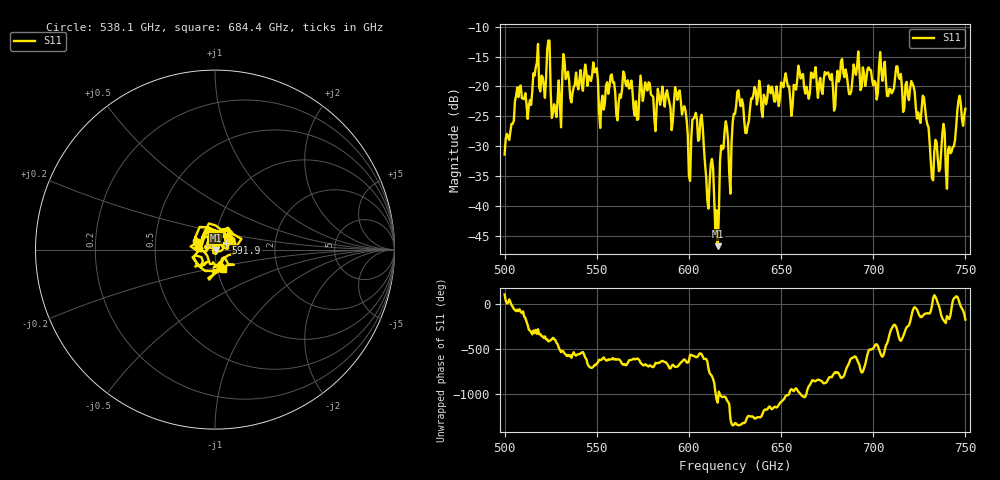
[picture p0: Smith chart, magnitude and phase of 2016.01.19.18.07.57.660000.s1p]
!Created with skrf (http://scikit-rf.org).
# GHz S RI R 50.0
!freq ReS11 ImS11
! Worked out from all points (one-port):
!   401 points, 500 GHz to 750 GHz, reference 50 ohm
!   lowest |S11| = -46.8 dB at 615.6 GHz (marker M1), VSWR 1.01, Z = 50.4 - j0.152 ohm
!   |S11| at or under -10 dB: start of sweep to end of sweep
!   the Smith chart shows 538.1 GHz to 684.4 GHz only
!   S11 on the Smith chart (normalised r, x): 538.1 GHz: 0.82, +0.06; 591.9 GHz: 1.13, +0.09; 684.4 GHz: 1.07, -0.24
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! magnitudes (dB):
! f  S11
! 500 GHz  -31.4
! 507.5 GHz  -21.8
! 513.8 GHz  -22.3
! 516.9 GHz  -16.9
! 520.6 GHz  -18.4
! 523.8 GHz  -12.3
! 526.9 GHz  -23.0
! 531.2 GHz  -18.8
! 538.1 GHz  -19.7
! 562.5 GHz  -21.3
! 591.9 GHz  -22.8
! 593.8 GHz  -22.2
! 600 GHz  -35.0
! 603.1 GHz  -25.1
! 606.9 GHz  -24.7
! 610 GHz  -39.1
! 612.5 GHz  -32.1
! 615.6 GHz  -46.8
! 618.8 GHz  -30.3
! 622.5 GHz  -38.0
! 625 GHz  -24.6
! 656.2 GHz  -23.2
! 684.4 GHz  -18.5
! 687.5 GHz  -21.3
! 718.8 GHz  -21.5
! 728.1 GHz  -23.7
! 731.9 GHz  -35.4
! 750 GHz  -23.7
